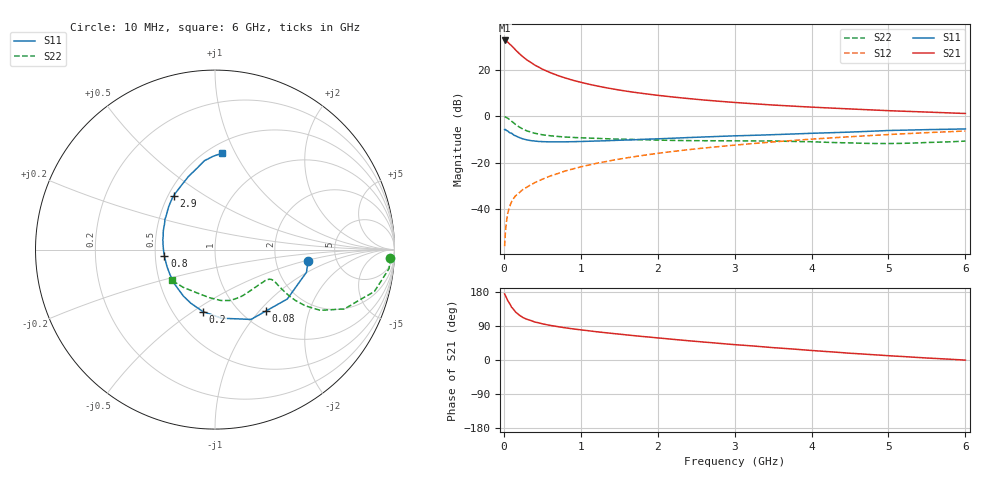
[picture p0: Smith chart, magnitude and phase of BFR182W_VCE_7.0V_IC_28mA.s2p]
! Infineon Technologies  Discrete & RF Semiconductors
! BFR182W
! VCE =  7.0 V,  IC =  28 mA
! Common Emitter S-Parameters:  Jan 2017
# GHz  S  MA  R  50
!  f  S11  S21  S12  S22
! GHz  MAG  ANG  MAG  ANG  MAG  ANG  MAG  ANG
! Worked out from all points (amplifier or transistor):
!   77 points, 10 MHz to 6 GHz, reference 50 ohm
!   highest |S21| = 32.8 dB at 10 MHz (marker M1)
!   |S21| within 3 dB of that: start of sweep to 121.7 MHz
!   unconditionally stable (mu >= 1): 693.6 MHz to 2.266 GHz
!   at 130 MHz: K = 0.49, MSG = 32.3 dB, |S12| = -35.2 dB
!   at 2.2 GHz: K = 1.00, MAG = 11.3 dB, |S12| = -15.1 dB
!   at 6 GHz: K = 0.86, MSG = 3.8 dB, |S12| = -6.3 dB
!   S11 on the Smith chart (normalised r, x): 10 MHz: 3.09, -0.52; 80 MHz: 1.27, -1.08; 200 MHz: 0.70, -0.55; 800 MHz: 0.56, -0.04; 2.9 GHz: 0.53, +0.37; 6 GHz: 0.59, +0.89
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0.01  0.5223 -6.7  43.52 174.4  0.0016 83.5  0.9784 -2.7
0.02  0.5252 -13.9  43.27 170.2  0.0031 86.6  0.9757 -6.2
0.05  0.488 -34.3  40.28 157.1  0.008 77.3  0.9183 -14.7
0.08  0.4441 -50.6  35.88 147.3  0.0119 72.0  0.8394 -20.3
0.1  0.4377 -62.7  33.65 139.5  0.0145 70.0  0.7921 -24.7
0.15  0.3843 -84.5  27.5 127.1  0.0193 67.7  0.6767 -30.0
0.2  0.3517 -101.1  22.73 118.5  0.0227 67.0  0.5926 -31.9
0.25  0.3275 -114.4  19.23 112.0  0.0269 65.6  0.5328 -32.3
0.3  0.3128 -124.5  16.51 107.4  0.03 66.5  0.4889 -32.0
0.4  0.2957 -140.0  12.88 100.4  0.0373 69.6  0.4356 -30.7
0.5  0.2868 -151.0  10.49 95.5  0.0443 70.2  0.4038 -29.5
0.6  0.2837 -160.0  8.866 91.4  0.0518 70.7  0.3845 -28.5
0.7  0.2829 -167.0  7.656 88.1  0.0588 72.7  0.3709 -27.9
0.8  0.2843 -172.9  6.753 84.9  0.067 72.4  0.3607 -27.9
1.1  0.292 172.9  4.984 77.2  0.0895 72.6  0.3423 -29.0
1.5  0.3073 159.2  3.717 68.3  0.1204 71.2  0.3255 -33.0
2.1  0.3346 143.6  2.741 56.5  0.1683 67.9  0.3073 -43.2
2.9  0.3771 127.8  2.066 42.2  0.2328 62.2  0.2989 -60.5
3.1  0.3863 124.0  1.955 39.1  0.2492 60.5  0.2975 -64.7
4.1  0.4388 108.4  1.562 23.7  0.3327 51.8  0.2812 -86.0
5.1  0.5026 95.6  1.315 10.1  0.4155 42.3  0.2621 -116.7
6  0.5394 85.6  1.16 -0.3  0.4861 33.1  0.2947 -144.3
